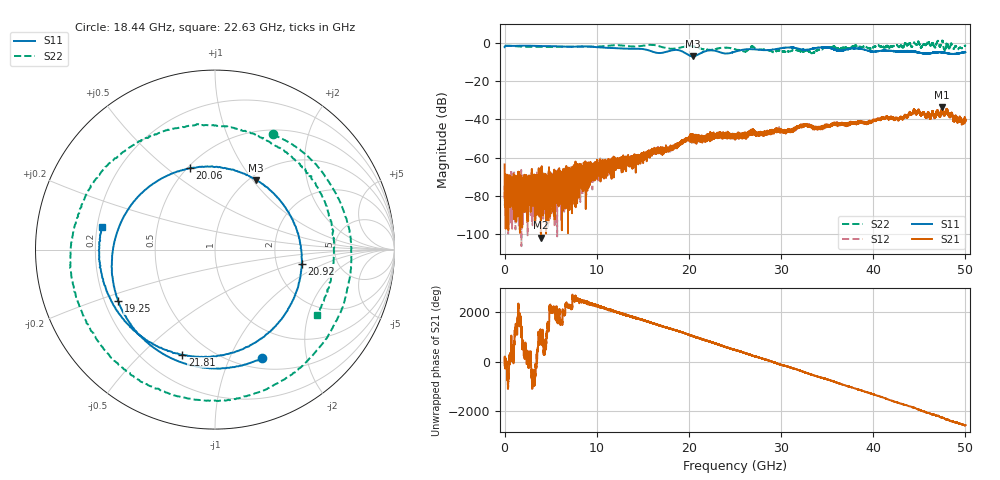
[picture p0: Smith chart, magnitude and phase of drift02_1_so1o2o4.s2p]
!Created with skrf (http://scikit-rf.org).
# Hz S RI R 50.0
!freq ReS11 ImS11 ReS21 ImS21 ReS12 ImS12 ReS22 ImS22
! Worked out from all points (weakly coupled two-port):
!   10001 points, 300 kHz to 50 GHz, reference 50 ohm
!   highest |S21| = -33.69 dB at 47.49 GHz (marker M1); lowest = -102.0 dB at 3.955 GHz (marker M2)
!   lowest |S11| = -7.0 dB at 20.4 GHz (marker M3), VSWR 2.63, Z = 53.8 + j52 ohm
!   |S11| at or under -10 dB: nowhere
!   |S22| runs from -5.3 to 1.4 dB; largest |S21 - S12| = 0.0037
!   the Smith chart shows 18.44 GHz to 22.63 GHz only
!   S11 on the Smith chart (normalised r, x): 18.44 GHz: 0.62, -1.32; 19.25 GHz: 0.26, -0.23; 20.06 GHz: 0.51, +0.60; 20.92 GHz: 2.78, -0.60; 21.81 GHz: 0.36, -0.67; 22.63 GHz: 0.22, +0.09
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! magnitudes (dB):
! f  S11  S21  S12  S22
! 300 kHz  -2.1  -63.7  -81.7  -1.3
! 265.3 MHz  -1.4  -75.3  -79.5  -1.4
! 3.45 GHz  -1.5  -80.7  -83.3  -2.0
! 3.955 GHz  -1.6  -102.0  -76.8  -1.9
! 4.515 GHz  -1.6  -74.8  -73.7  -2.0
! 8.335 GHz  -1.7  -68.2  -64.5  -1.9
! 16.67 GHz  -5.2  -57.8  -54.5  -1.5
! 18.44 GHz  -3.6  -54.2  -54.7  -2.9
! 19.25 GHz  -4.3  -51.9  -52.1  -2.2
! 20.06 GHz  -6.5  -49.9  -50.1  -1.5
! 20.4 GHz  -7.0  -50.5  -50.0  -1.7
! 20.92 GHz  -6.2  -51.4  -50.5  -2.2
! 21.81 GHz  -4.3  -50.6  -51.0  -3.4
! 22.63 GHz  -3.8  -48.5  -48.7  -3.4
! 25 GHz  -4.5  -49.0  -48.1  -3.2
! 26.11 GHz  -3.3  -49.1  -48.4  -4.4
! 26.89 GHz  -3.2  -48.1  -46.5  -1.7
! 33.34 GHz  -3.0  -43.6  -43.6  -5.3
! 34.91 GHz  -2.3  -43.5  -43.7  -2.1
! 41.67 GHz  -4.0  -39.8  -39.0  -2.1
! 47.49 GHz  -4.8  -33.7  -34.2  1.0
! 50 GHz  -4.8  -40.9  -41.3  -1.5
